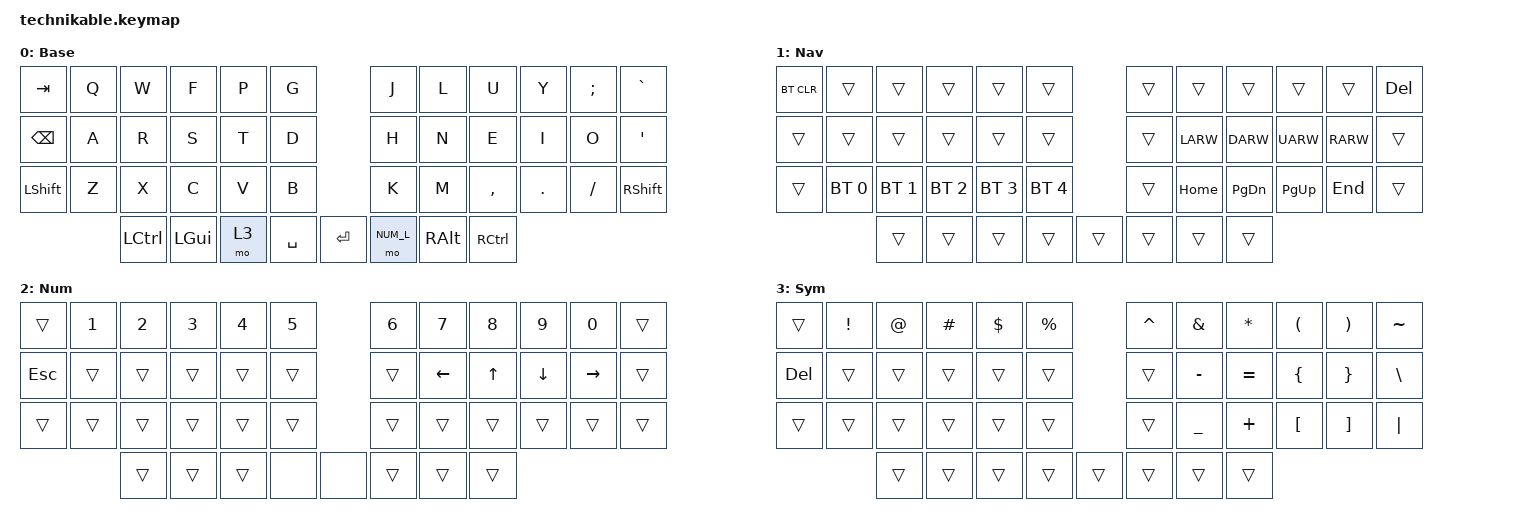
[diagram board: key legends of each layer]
/*
 * Copyright (c) 2022 Pete Johanson
 *
 * SPDX-License-Identifier: MIT
 */

#include <behaviors.dtsi>
#include <dt-bindings/zmk/bt.h>
#include <dt-bindings/zmk/keys.h>

#define BAS_L 0
#define NAV_L 1
#define NUM_L 2
#define SYM_L 3

// Using layer taps on thumbs, having quick tap as well helps w/ repeating space/backspace

&lt { quick_tap_ms = <200>; };

/ {
    chosen { zmk,matrix_transform = &ortho_transform; };

    conditional_layers {
        compatible = "zmk,conditional-layers";

        tri_layer {
            if-layers = <2 3>;
            then-layer = <1>;
        };
    };

    keymap {
        compatible = "zmk,keymap";

        base_layer {
            label = "Base";
            bindings = <
&kp TAB        &kp Q  &kp W      &kp F         &kp P  &kp G                 &kp J      &kp L     &kp U      &kp Y    &kp SEMICOLON  &kp GRAVE
&kp BACKSPACE  &kp A  &kp R      &kp S         &kp T  &kp D                 &kp H      &kp N     &kp E      &kp I    &kp O          &kp SINGLE_QUOTE
&kp LSHFT      &kp Z  &kp X      &kp C         &kp V  &kp B                 &kp K      &kp M     &kp COMMA  &kp DOT  &kp FSLH       &kp RSHIFT
                      &kp LCTRL  &kp LEFT_GUI  &mo 3  &kp SPACE  &kp ENTER  &mo NUM_L  &kp RALT  &kp RCTRL
            >;
        };

        nav_layer {
            label = "Nav";
            bindings = <
&bt BT_CLR  &trans        &trans        &trans        &trans        &trans                &trans  &trans    &trans     &trans     &trans    &kp DEL
&trans      &trans        &trans        &trans        &trans        &trans                &trans  &kp LARW  &kp DARW   &kp UARW   &kp RARW  &trans
&trans      &bt BT_SEL 0  &bt BT_SEL 1  &bt BT_SEL 2  &bt BT_SEL 3  &bt BT_SEL 4          &trans  &kp HOME  &kp PG_DN  &kp PG_UP  &kp END   &trans
                          &trans        &trans        &trans        &trans        &trans  &trans  &trans    &trans
            >;
        };

        num_layer {
            label = "Num";
            bindings = <
&trans      &kp NUMBER_1  &kp NUMBER_2  &kp NUMBER_3  &kp NUMBER_4  &kp NUMBER_5         &kp NUMBER_6  &kp NUMBER_7  &kp NUMBER_8  &kp NUMBER_9  &kp NUMBER_0  &trans
&kp ESCAPE  &trans        &trans        &trans        &trans        &trans               &trans        &kp LEFT      &kp UP        &kp DOWN      &kp RIGHT     &trans
&trans      &trans        &trans        &trans        &trans        &trans               &trans        &trans        &trans        &trans        &trans        &trans
                          &trans        &trans        &trans        &none         &none  &trans        &trans        &trans
            >;
        };

        sym_layer {
            label = "Sym";
            bindings = <
&trans      &kp EXCLAMATION  &kp AT_SIGN  &kp HASH  &kp DOLLAR  &kp PERCENT          &kp CARET  &kp AMPERSAND   &kp ASTERISK  &kp LEFT_PARENTHESIS  &kp RIGHT_PARENTHESIS  &kp TILDE
&kp DELETE  &trans           &trans       &trans    &trans      &trans               &trans     &kp MINUS       &kp EQUAL     &kp LEFT_BRACE        &kp RIGHT_BRACE        &kp BACKSLASH
&trans      &trans           &trans       &trans    &trans      &trans               &trans     &kp UNDERSCORE  &kp PLUS      &kp LEFT_BRACKET      &kp RIGHT_BRACKET      &kp PIPE
                             &trans       &trans    &trans      &trans       &trans  &trans     &trans          &trans
            >;
        };
    };
};
